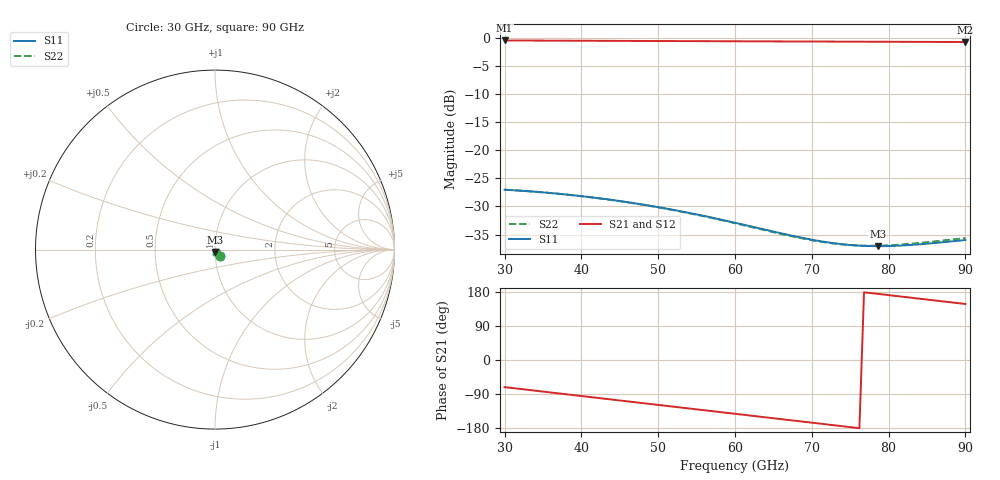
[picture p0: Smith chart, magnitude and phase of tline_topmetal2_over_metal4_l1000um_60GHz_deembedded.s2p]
! Created with skrf 2.2.0 (http://scikit-rf.org).
# GHz S DB R 50.0
! Port[1] = P1
! Port[2] = P2
!freq dBS11 angS11 dBS21 angS21 dBS12 angS12 dBS22 angS22
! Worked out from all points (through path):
!   101 points, 30 GHz to 90 GHz, reference 50 ohm
!   highest |S21| = -0.49 dB at 30 GHz (marker M1); lowest = -0.8 dB at 90 GHz (marker M2)
!   group delay of S21, straight-line fit = 6.51 ps
!   lowest |S11| = -37.1 dB at 78.6 GHz (marker M3), VSWR 1.03, Z = 50.2 - j1.39 ohm
!   |S11| at or under -10 dB: start of sweep to end of sweep
!   |S22| runs from -37.0 to -27.0 dB; largest |S21 - S12| = 1.1e-14
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30  -27.02 -48.4  -0.49 -71.6  -0.49 -71.6  -27.02 -48.5
33  -27.28 -54.8  -0.51 -78.6  -0.51 -78.6  -27.28 -54.9
35.4  -27.53 -59.8  -0.52 -84.3  -0.52 -84.3  -27.54 -59.9
37.8  -27.84 -64.7  -0.53 -89.9  -0.53 -89.9  -27.85 -64.7
40.2  -28.19 -69.3  -0.54 -95.5  -0.54 -95.5  -28.20 -69.4
42.6  -28.59 -73.8  -0.56 -101.2  -0.56 -101.2  -28.61 -73.8
45  -29.03 -78.0  -0.57 -106.8  -0.57 -106.8  -29.06 -78.1
47.4  -29.53 -82.0  -0.58 -112.4  -0.58 -112.4  -29.56 -82.0
50.4  -30.21 -86.5  -0.59 -119.5  -0.59 -119.5  -30.25 -86.5
55.2  -31.46 -92.4  -0.62 -130.7  -0.62 -130.7  -31.53 -92.2
60  -32.88 -96.1  -0.64 -142.0  -0.64 -142.0  -32.97 -95.7
63  -33.82 -97.0  -0.65 -149.0  -0.65 -149.0  -33.93 -96.3
65.4  -34.58 -96.7  -0.66 -154.6  -0.66 -154.6  -34.69 -95.8
67.8  -35.30 -95.4  -0.67 -160.2  -0.67 -160.2  -35.41 -94.3
70.2  -35.94 -93.2  -0.68 -165.9  -0.68 -165.9  -36.04 -91.7
74.4  -36.77 -87.4  -0.70 -175.7  -0.70 -175.7  -36.79 -85.3
78.6  -37.05 -80.6  -0.72 174.5  -0.72 174.5  -36.97 -78.2
80.4  -37.01 -77.8  -0.73 170.3  -0.73 170.3  -36.88 -75.4
82.8  -36.85 -74.7  -0.74 164.6  -0.74 164.6  -36.64 -72.4
85.2  -36.59 -72.3  -0.75 159.0  -0.75 159.0  -36.33 -70.1
87.6  -36.28 -70.6  -0.76 153.4  -0.76 153.4  -35.98 -68.6
90  -35.97 -69.5  -0.77 147.8  -0.77 147.8  -35.62 -67.8
